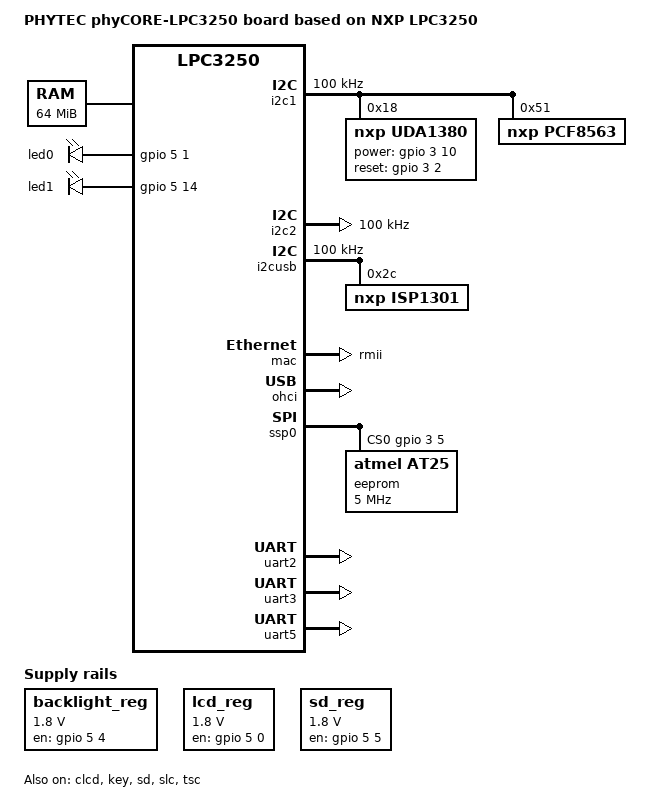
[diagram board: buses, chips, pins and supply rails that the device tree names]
/*
 * PHYTEC phyCORE-LPC3250 board
 *
 * Copyright 2012 Roland Stigge <stigge@antcom.de>
 *
 * The code contained herein is licensed under the GNU General Public
 * License. You may obtain a copy of the GNU General Public License
 * Version 2 or later at the following locations:
 *
 * http://www.opensource.org/licenses/gpl-license.html
 * http://www.gnu.org/copyleft/gpl.html
 */

/dts-v1/;
#include "lpc32xx.dtsi"

/ {
	model = "PHYTEC phyCORE-LPC3250 board based on NXP LPC3250";
	compatible = "phytec,phy3250", "nxp,lpc3250";
	#address-cells = <1>;
	#size-cells = <1>;

	memory {
		device_type = "memory";
		reg = <0x80000000 0x4000000>;
	};

	regulators {
		backlight_reg: regulator@0 {
			compatible = "regulator-fixed";
			regulator-name = "backlight_reg";
			regulator-min-microvolt = <1800000>;
			regulator-max-microvolt = <1800000>;
			gpio = <&gpio 5 4 0>;
			enable-active-high;
			regulator-boot-on;
		};

		lcd_reg: regulator@1 {
			compatible = "regulator-fixed";
			regulator-name = "lcd_reg";
			regulator-min-microvolt = <1800000>;
			regulator-max-microvolt = <1800000>;
			gpio = <&gpio 5 0 0>;
			enable-active-high;
			regulator-boot-on;
		};

		sd_reg: regulator@2 {
			compatible = "regulator-fixed";
			regulator-name = "sd_reg";
			regulator-min-microvolt = <1800000>;
			regulator-max-microvolt = <1800000>;
			gpio = <&gpio 5 5 0>;
			enable-active-high;
		};
	};

	leds {
		compatible = "gpio-leds";

		led0 { /* red */
			gpios = <&gpio 5 1 0>; /* GPO_P3 1, GPIO 80, active high */
			default-state = "off";
		};

		led1 { /* green */
			gpios = <&gpio 5 14 0>; /* GPO_P3 14, GPIO 93, active high */
			linux,default-trigger = "heartbeat";
		};
	};
};

&clcd {
	status = "okay";
};

&i2c1 {
	clock-frequency = <100000>;

	uda1380: uda1380@18 {
		compatible = "nxp,uda1380";
		reg = <0x18>;
		power-gpio = <&gpio 3 10 0>;
		reset-gpio = <&gpio 3 2 0>;
		dac-clk = "wspll";
	};

	pcf8563: rtc@51 {
		compatible = "nxp,pcf8563";
		reg = <0x51>;
	};
};

&i2c2 {
	clock-frequency = <100000>;
};

&i2cusb {
	clock-frequency = <100000>;

	isp1301: usb-transceiver@2c {
		compatible = "nxp,isp1301";
		reg = <0x2c>;
	};
};

&key {
	keypad,num-rows = <1>;
	keypad,num-columns = <1>;
	nxp,debounce-delay-ms = <3>;
	nxp,scan-delay-ms = <34>;
	linux,keymap = <0x00000002>;
	status = "okay";
};

&mac {
	phy-mode = "rmii";
	use-iram;
};

/* Here, choose exactly one from: ohci, usbd */
&ohci /* &usbd */ {
	transceiver = <&isp1301>;
	status = "okay";
};

&sd {
	wp-gpios = <&gpio 3 0 0>;
	cd-gpios = <&gpio 3 1 0>;
	cd-inverted;
	bus-width = <4>;
	vmmc-supply = <&sd_reg>;
	status = "okay";
};

/* 64MB Flash via SLC NAND controller */
&slc {
	status = "okay";

	nxp,wdr-clks = <14>;
	nxp,wwidth = <40000000>;
	nxp,whold = <100000000>;
	nxp,wsetup = <100000000>;
	nxp,rdr-clks = <14>;
	nxp,rwidth = <40000000>;
	nxp,rhold = <66666666>;
	nxp,rsetup = <100000000>;
	nand-on-flash-bbt;
	gpios = <&gpio 5 19 1>; /* GPO_P3 19, active low */

	partitions {
		compatible = "fixed-partitions";
		#address-cells = <1>;
		#size-cells = <1>;

		mtd0@0 {
			label = "phy3250-boot";
			reg = <0x00000000 0x00064000>;
			read-only;
		};

		mtd1@64000 {
			label = "phy3250-uboot";
			reg = <0x00064000 0x00190000>;
			read-only;
		};

		mtd2@1f4000 {
			label = "phy3250-ubt-prms";
			reg = <0x001f4000 0x00010000>;
		};

		mtd3@204000 {
			label = "phy3250-kernel";
			reg = <0x00204000 0x00400000>;
		};

		mtd4@604000 {
			label = "phy3250-rootfs";
			reg = <0x00604000 0x039fc000>;
		};
	};
};

&ssp0 {
	#address-cells = <1>;
	#size-cells = <0>;
	num-cs = <1>;
	cs-gpios = <&gpio 3 5 0>;
	status = "okay";

	eeprom: at25@0 {
		compatible = "atmel,at25";
		reg = <0>;
		spi-max-frequency = <5000000>;

		pl022,interface = <0>;
		pl022,com-mode = <0>;
		pl022,rx-level-trig = <1>;
		pl022,tx-level-trig = <1>;
		pl022,ctrl-len = <11>;
		pl022,wait-state = <0>;
		pl022,duplex = <0>;

		at25,byte-len = <0x8000>;
		at25,addr-mode = <2>;
		at25,page-size = <64>;
	};
};

&tsc {
	status = "okay";
};

&uart2 {
	status = "okay";
};

&uart3 {
	status = "okay";
};

&uart5 {
	status = "okay";
};
